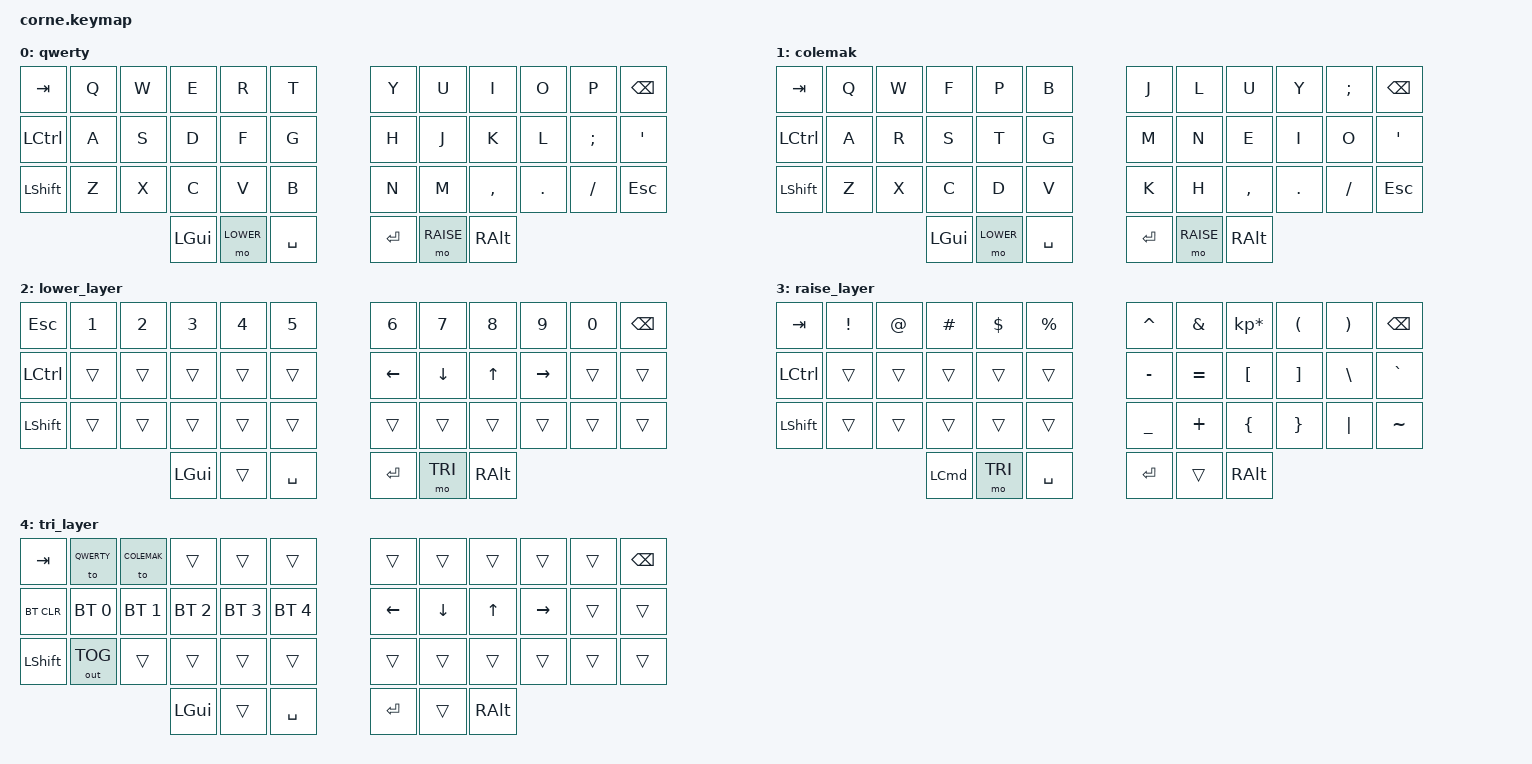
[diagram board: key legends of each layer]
/*
 * Copyright (c) 2020 The ZMK Contributors
 *
 * SPDX-License-Identifier: MIT
 */

#include <behaviors.dtsi>
#include <dt-bindings/zmk/keys.h>
#include <dt-bindings/zmk/bt.h>
#include <dt-bindings/zmk/ext_power.h>
#include <dt-bindings/zmk/outputs.h>

#define QWERTY 0
#define COLEMAK 1
#define LOWER 2
#define RAISE 3
#define TRI 4

/ {
        keymap {
                compatible = "zmk,keymap";

                qwerty {
// -----------------------------------------------------------------------------------------
// |  TAB |  Q  |  W  |  E  |  R  |  T  |   |  Y  |  U   |  I  |  O  |  P  | BKSP |
// | CTRL |  A  |  S  |  D  |  F  |  G  |   |  H  |  J   |  K  |  L  |  ;  |  '   |
// | SHFT |  Z  |  X  |  C  |  V  |  B  |   |  N  |  M   |  ,  |  .  |  /  | ESC  |
//                    | GUI | LWR | SPC |   | ENT | RSE  | ALT |
                        bindings = <
   &kp TAB   &kp Q &kp W &kp E &kp R &kp T   &kp Y &kp U  &kp I     &kp O   &kp P    &kp BSPC
   &kp LCTRL &kp A &kp S &kp D &kp F &kp G   &kp H &kp J  &kp K     &kp L   &kp SEMI &kp SQT
   &kp LSHFT &kp Z &kp X &kp C &kp V &kp B   &kp N &kp M  &kp COMMA &kp DOT &kp FSLH &kp ESC
              &kp LGUI &mo LOWER &kp SPACE   &kp RET &mo RAISE &kp RALT
                        >;
                };

                colemak {
// -----------------------------------------------------------------------------------------
// |  TAB |  Q  |  W  |  F  |  P  |  B  |   |  J  |  L   |  U  |  Y  |  ;  | BKSP |
// | CTRL |  A  |  R  |  S  |  T  |  G  |   |  M  |  N   |  E  |  I  |  O  |  '   |
// | SHFT |  Z  |  X  |  C  |  D  |  V  |   |  K  |  H   |  ,  |  .  |  /  | ESC  |
//                    | GUI | LWR | SPC |   | ENT | RSE  | ALT |
                        bindings = <
   &kp TAB   &kp Q &kp W &kp F &kp P &kp B   &kp J &kp L  &kp U     &kp Y   &kp SEMI    &kp BSPC
   &kp LCTRL &kp A &kp R &kp S &kp T &kp G   &kp M &kp N  &kp E     &kp I   &kp O    &kp SQT
   &kp LSHFT &kp Z &kp X &kp C &kp D &kp V   &kp K &kp H  &kp COMMA &kp DOT &kp FSLH &kp ESC
                  &kp LGUI &mo LOWER &kp SPACE   &kp RET &mo RAISE &kp RALT
                        >;
                };

                lower_layer {
// -----------------------------------------------------------------------------------------
// |  ESC |  1  |  2  |  3  |  4  |  5  |   |  6  |  7  |  8  |  9  |  0  | BKSP |
// | CTRL |     |     |     |     |     |   | LFT | DWN |  UP | RGT |     |      |
// | SHFT |     |     |     |     |     |   |     |     |     |     |     |      |
//                    | GUI |     | SPC |   | ENT | TRI | ALT |
                        bindings = <
   &kp ESC    &kp N1  &kp N2  &kp N3  &kp N4  &kp N5         &kp N6   &kp N7   &kp N8 &kp N9    &kp N0 &kp BSPC
   &kp LCTRL  &trans  &trans  &trans  &trans  &trans         &kp LEFT &kp DOWN &kp UP &kp RIGHT &trans &trans
   &kp LSHFT  &trans  &trans  &trans  &trans  &trans         &trans   &trans   &trans &trans    &trans &trans
                            &kp LGUI  &trans  &kp SPACE      &kp RET  &mo TRI   &kp RALT
                        >;
                };

                raise_layer {
// -----------------------------------------------------------------------------------------
// |  TAB |  !  |  @  |  #  |  $  |  %  |   |  ^  |  &  |  *  |  (  |  )  | BKSP |
// | CTRL |     |     |     |     |     |   |  -  |  =  |  [  |  ]  |  \  |  `   |
// | SHFT |     |     |     |     |     |   |  _  |  +  |  {  |  }  | "|" |  ~   |
//                    | CMD | TRI | SPC |   | ENT |     | ALT |
                        bindings = <
   &kp  TAB  &kp EXCL &kp AT &kp HASH &kp DLLR &kp PRCNT   &kp CARET &kp AMPS  &kp KP_MULTIPLY &kp LPAR &kp RPAR &kp BSPC
   &kp LCTRL &trans   &trans &trans   &trans   &trans      &kp MINUS &kp EQUAL &kp LBKT        &kp RBKT &kp BSLH &kp GRAVE
   &kp LSHFT &trans   &trans &trans   &trans   &trans      &kp UNDER &kp PLUS  &kp LBRC        &kp RBRC &kp PIPE &kp TILDE
                    	     &kp LCMD &mo TRI   &kp SPACE   &kp RET   &trans    &kp RALT
                        >;
                };

                tri_layer {
// -----------------------------------------------------------------------------------------
// |  TAB | QWE | COL |     |     |     |   |     |     |     |     |     | BKSP |
// | BTCLR| BT1 | BT2 | BT3 | BT4 | BT5 |   | LFT | DWN |  UP | RGT |     |      |
// | SHFT | TOG |     |     |     |     |   |     |     |     |     |     |      |
//                    | GUI |     | SPC |   | ENT |     | ALT |
                        bindings = <
   &kp TAB    &to QWERTY   &to COLEMAK  &trans       &trans       &trans         &trans   &trans   &trans &trans    &trans &kp BSPC
   &bt BT_CLR &bt BT_SEL 0 &bt BT_SEL 1 &bt BT_SEL 2 &bt BT_SEL 3 &bt BT_SEL 4   &kp LEFT &kp DOWN &kp UP &kp RIGHT &trans &trans
   &kp LSHFT  &out OUT_TOG &trans       &trans       &trans       &trans         &trans   &trans   &trans &trans    &trans &trans
                          	             &kp LGUI     &trans       &kp SPACE      &kp RET  &trans   &kp RALT
                        >;
                };
        };
};
